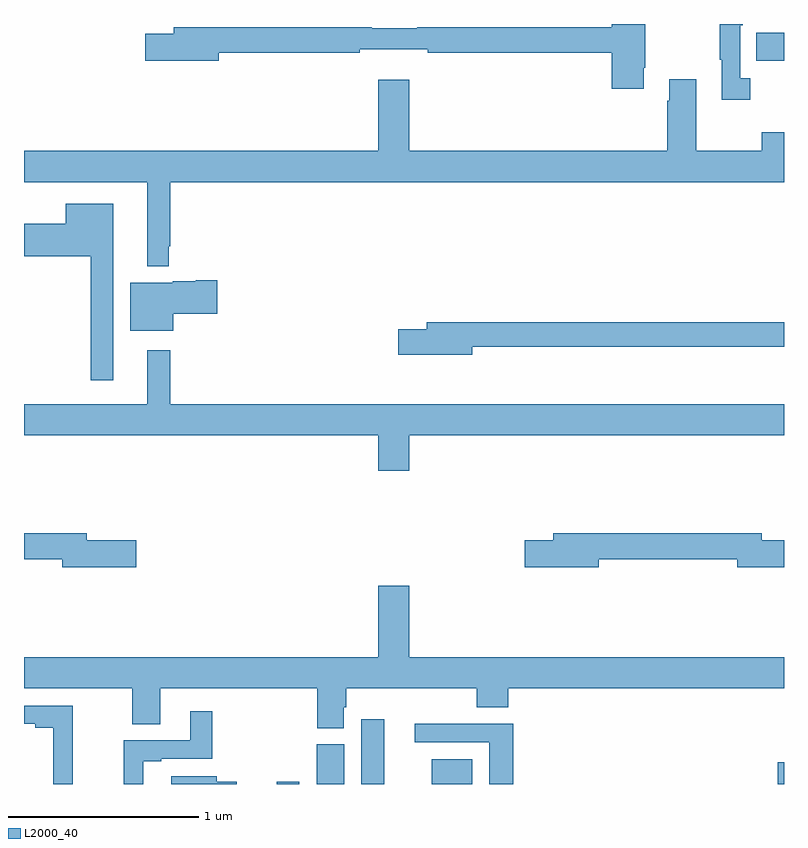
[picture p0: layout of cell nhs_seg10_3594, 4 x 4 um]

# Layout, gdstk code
import gdstk
lib = gdstk.Library(unit=1e-6, precision=1e-09)
def R(c, l, rs):  # rectangles x0, y0, x1, y1
    for r in rs: c.add(gdstk.rectangle(r[:2], r[2:], *l))
def P(c, l, *ps):  # polygons
    for p in ps: c.add(gdstk.Polygon(p, *l))
L2000_40 = (2000, 40)

nhs_seg10_3594 = lib.new_cell('nhs_seg10_3594')
R(nhs_seg10_3594, L2000_40, [(308.33,1278.5,308.448,1278.512), (308.54,1278.5,308.686,1278.708), (308.774,1278.5,308.896,1278.841), (309.146,1278.5,309.358,1278.631), (310.967,1278.5,311,1278.614), (310.855,1282.306,311,1282.453)])
P(nhs_seg10_3594, L2000_40, [(310.822,1282.214),(310.77,1282.214),(310.77,1282.493),(310.783,1282.493),(310.783,1282.5),(310.662,1282.5),(310.662,1282.313),(310.673,1282.313),(310.673,1282.101),(310.822,1282.101)],
  [(310.261,1282.27),(310.269,1282.27),(310.269,1282.5),(310.094,1282.5),(310.094,1282.484),(309.07,1282.484),(309.07,1282.477),(308.831,1282.477),(308.831,1282.484),(307.787,1282.484),(307.787,1282.448),(307.638,1282.448),(307.638,1282.306),(308.026,1282.306),(308.026,1282.348),(308.768,1282.348),(308.768,1282.367),(309.124,1282.367),(309.124,1282.348),(310.094,1282.348),(310.094,1282.158),(310.261,1282.158)],
  [(307.763,1281.331),(307.771,1281.331),(307.771,1281.668),(311,1281.668),(311,1281.931),(310.882,1281.931),(310.882,1281.832),(310.537,1281.832),(310.537,1282.21),(310.397,1282.21),(310.397,1282.097),(310.385,1282.097),(310.385,1281.832),(309.028,1281.832),(309.028,1282.207),(308.864,1282.207),(308.864,1281.832),(307,1281.832),(307,1281.668),(307.649,1281.668),(307.649,1281.224),(307.763,1281.224)],
  [(307.471,1281.553),(307.22,1281.553),(307.22,1281.448),(307,1281.448),(307,1281.278),(307.35,1281.278),(307.35,1280.625),(307.471,1280.625)],
  [(307.786,1280.974),(308.017,1280.974),(308.017,1281.152),(307.904,1281.152),(307.904,1281.145),(307.782,1281.145),(307.782,1281.139),(307.559,1281.139),(307.559,1280.885),(307.786,1280.885)],
  [(309.358,1280.802),(311,1280.802),(311,1280.93),(309.119,1280.93),(309.119,1280.894),(308.97,1280.894),(308.97,1280.759),(309.358,1280.759)],
  [(309.028,1280.336),(311,1280.336),(311,1280.5),(307.771,1280.5),(307.771,1280.782),(307.649,1280.782),(307.649,1280.5),(307,1280.5),(307,1280.336),(308.864,1280.336),(308.864,1280.148),(309.028,1280.148)],
  [(307.591,1279.784),(307.33,1279.784),(307.33,1279.82),(307,1279.82),(307,1279.684),(307.202,1279.684),(307.202,1279.642),(307.591,1279.642)],
  [(310.024,1279.684),(310.754,1279.684),(310.754,1279.642),(311,1279.642),(311,1279.784),(310.882,1279.784),(310.882,1279.82),(309.785,1279.82),(309.785,1279.784),(309.636,1279.784),(309.636,1279.642),(310.024,1279.642)],
  [(308.683,1278.903),(308.696,1278.903),(308.696,1279.004),(309.383,1279.004),(309.383,1278.905),(309.548,1278.905),(309.548,1279.004),(311,1279.004),(311,1279.168),(309.028,1279.168),(309.028,1279.543),(308.864,1279.543),(308.864,1279.168),(307,1279.168),(307,1279.004),(307.57,1279.004),(307.57,1278.814),(307.717,1278.814),(307.717,1279.004),(308.543,1279.004),(308.543,1278.793),(308.683,1278.793)],
  [(307.256,1278.912),(307,1278.912),(307,1278.816),(307.058,1278.816),(307.058,1278.796),(307.154,1278.796),(307.154,1278.513),(307.153,1278.513),(307.153,1278.5),(307.256,1278.5)],
  [(307.627,1278.621),(307.723,1278.621),(307.723,1278.633),(307.991,1278.633),(307.991,1278.883),(307.874,1278.883),(307.874,1278.729),(307.525,1278.729),(307.525,1278.5),(307.627,1278.5)],
  [(309.575,1278.818),(309.057,1278.818),(309.057,1278.72),(309.449,1278.72),(309.449,1278.5),(309.575,1278.5)],
  [(308.119,1278.512),(308.014,1278.512),(308.014,1278.541),(307.775,1278.541),(307.775,1278.5),(308.119,1278.5)])

lib.write_gds('nhs_seg10_3594.gds')
